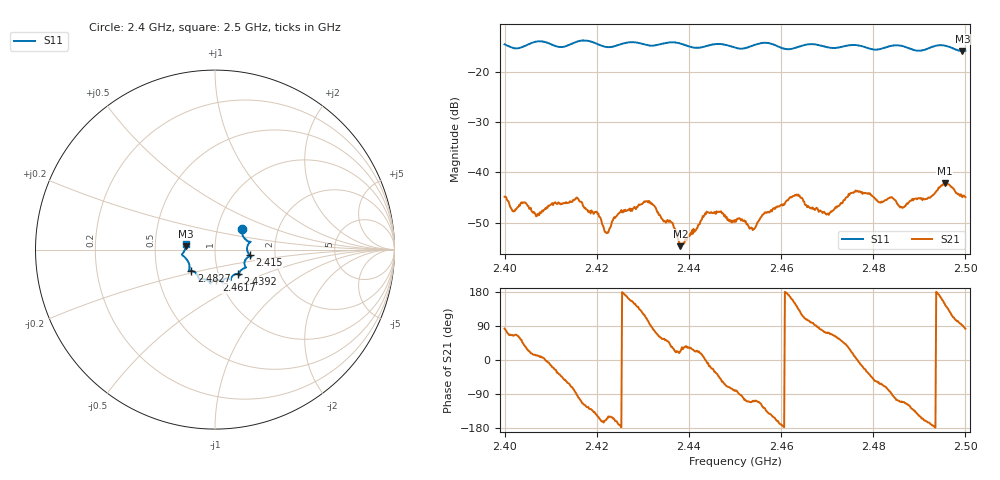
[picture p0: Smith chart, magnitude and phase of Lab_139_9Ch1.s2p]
# Hz S RI R 50
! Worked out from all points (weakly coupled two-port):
!   601 points, 2.4 GHz to 2.5 GHz, reference 50 ohm
!   highest |S21| = -42.19 dB at 2.4955 GHz (marker M1); lowest = -54.7 dB at 2.4382 GHz (marker M2)
!   lowest |S11| = -15.7 dB at 2.4993 GHz (marker M3), VSWR 1.39, Z = 36 + j1.45 ohm
!   |S11| at or under -10 dB: start of sweep to end of sweep
!   S12 and S22 are empty: the file has one direction only
!   S11 on the Smith chart (normalised r, x): 2.4 GHz: 1.31, +0.31; 2.415 GHz: 1.48, -0.10; 2.4392 GHz: 1.24, -0.35; 2.4617 GHz: 0.96, -0.34; 2.4827 GHz: 0.75, -0.18; 2.5 GHz: 0.72, +0.05
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2.4e9  0.151 0.1156  0.000701 0.00568  0 0  0 0
2.407e9  0.1984 0.0434  0.00359 0.000779  0 0  0 0
2.415e9  0.1937 -0.032  0.00111 -0.00516  0 0  0 0
2.416667e9  0.2036 -0.039  -0.00171 -0.0048  0 0  0 0
2.422167e9  0.1688 -0.0586  -0.00224 -0.00105  0 0  0 0
2.4305e9  0.155 -0.1075  -0.00214 0.00462  0 0  0 0
2.433333e9  0.1363 -0.1301  0.00169 0.00362  0 0  0 0
2.438167e9  0.1344 -0.1393  0.00169 0.000732  0 0  0 0
2.439167e9  0.1283 -0.1358  0.00176 0.00121  0 0  0 0
2.444e9  0.0893 -0.1608  0.00398 -0.00061  0 0  0 0
2.45e9  0.071 -0.1614  0.000485 -0.00332  0 0  0 0
2.454e9  0.0394 -0.1816  -0.00089 -0.00256  0 0  0 0
2.461667e9  0.00808 -0.1698  -0.00539 0.000814  0 0  0 0
2.466667e9  -0.0265 -0.1892  -0.000626 0.00431  0 0  0 0
2.470167e9  -0.039 -0.1733  0.00115 0.00372  0 0  0 0
2.4765e9  -0.0892 -0.1636  0.00657 0.000145  0 0  0 0
2.482667e9  -0.132 -0.1179  0.00178 -0.005  0 0  0 0
2.483333e9  -0.1378 -0.1172  0.001 -0.00543  0 0  0 0
2.4865e9  -0.144 -0.1114  -0.0016 -0.00419  0 0  0 0
2.4955e9  -0.1832 -0.025  -0.00663 0.00406  0 0  0 0
2.499333e9  -0.162 0.0196  -0.000188 0.00566  0 0  0 0
2.5e9  -0.1615 0.0317  0.000745 0.00563  0 0  0 0
